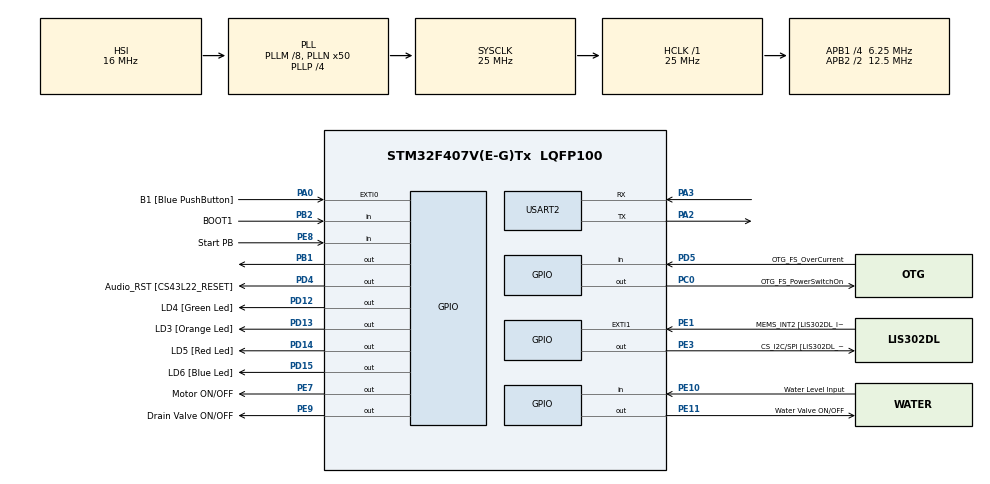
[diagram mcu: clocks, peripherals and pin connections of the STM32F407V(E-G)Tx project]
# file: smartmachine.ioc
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FREERTOS.Queues01=myQueue01,64,uint16_t,0,Dynamic,NULL,NULL
FREERTOS.Tasks01=defaultTask,14,128,StartDefaultTask,Default,NULL,Dynamic,NULL,NULL;washingTask,24,128,StartWashingTask,Default,NULL,Dynamic,NULL,NULL;userInputTask,24,128,StartUserInputTask,Default,NULL,Dynamic,NULL,NULL;rinsingTask,24,128,StartRinsingTask,Default,NULL,Dynamic,NULL,NULL;washdrainTask,24,128,StartWashDrainTask,Default,NULL,Dynamic,NULL,NULL;fillrinseTask,24,128,StartFillRinseTask,Default,NULL,Dynamic,NULL,NULL;fillwashTask,24,256,StartFillWashTask,Default,NULL,Dynamic,NULL,NULL;rinsedrainTask,24,128,StartRinseDrainTask,Default,NULL,Dynamic,NULL,NULL;heartbeatTask,24,128,StarteHearBeatTask,Default,NULL,Dynamic,NULL,NULL
Mcu.Family=STM32F4
Mcu.Name=STM32F407V(E-G)Tx
Mcu.Package=LQFP100
NVIC.PriorityGroup=NVIC_PRIORITYGROUP_4
NVIC.TIM2_IRQn=true\:15\:0\:false\:false\:true\:false\:false\:true\:true
NVIC.TimeBase=TIM2_IRQn
NVIC.TimeBaseIP=TIM2
PA0-WKUP.GPIO_Label=B1 [Blue PushButton]
PA0-WKUP.Signal=GPXTI0
PA10.GPIO_Label=OTG_FS_ID
PA10.GPIO_Mode=GPIO_MODE_AF_PP
PA10.GPIO_PuPd=GPIO_NOPULL
PA10.GPIO_Speed=GPIO_SPEED_FREQ_LOW
PA10.Signal=USB_OTG_FS_ID
PA11.GPIO_Label=OTG_FS_DM
PA11.GPIO_Mode=GPIO_MODE_AF_PP
PA11.GPIO_PuPd=GPIO_NOPULL
PA11.GPIO_Speed=GPIO_SPEED_FREQ_LOW
PA11.Signal=USB_OTG_FS_DM
PA12.GPIO_Label=OTG_FS_DP
PA12.GPIO_Mode=GPIO_MODE_AF_PP
PA12.GPIO_PuPd=GPIO_NOPULL
PA12.GPIO_Speed=GPIO_SPEED_FREQ_LOW
PA12.Signal=USB_OTG_FS_DP
PA13.GPIO_Label=SWDIO
PA13.Signal=SYS_JTMS-SWDIO
PA14.GPIO_Label=SWCLK
PA14.Signal=SYS_JTCK-SWCLK
PA2.Mode=Asynchronous
PA2.Signal=USART2_TX
PA3.Mode=Asynchronous
PA3.Signal=USART2_RX
PA4.GPIO_Label=I2S3_WS [CS43L22_LRCK]
PA4.GPIO_Mode=GPIO_MODE_AF_PP
PA4.GPIO_PuPd=GPIO_NOPULL
PA4.GPIO_Speed=GPIO_SPEED_FREQ_LOW
PA4.Signal=I2S3_WS
PA5.GPIO_Label=SPI1_SCK [LIS302DL_SCL/SPC]
PA5.GPIO_Mode=GPIO_MODE_AF_PP
PA5.GPIO_PuPd=GPIO_NOPULL
PA5.GPIO_Speed=GPIO_SPEED_FREQ_LOW
PA5.Signal=SPI1_SCK
PA6.GPIO_Label=SPI1_MISO [LIS302DL_SDO]
PA6.GPIO_Mode=GPIO_MODE_AF_PP
PA6.GPIO_PuPd=GPIO_NOPULL
PA6.GPIO_Speed=GPIO_SPEED_FREQ_LOW
PA6.Signal=SPI1_MISO
PA7.GPIO_Label=SPI1_MOSI [LIS302DL_SDA/SDI/SDO]
PA7.GPIO_Mode=GPIO_MODE_AF_PP
PA7.GPIO_PuPd=GPIO_NOPULL
PA7.GPIO_Speed=GPIO_SPEED_FREQ_LOW
PA7.Signal=SPI1_MOSI
PA9.GPIO_Label=VBUS_FS
PA9.GPIO_Mode=GPIO_MODE_INPUT
PA9.GPIO_PuPd=GPIO_NOPULL
PA9.Signal=USB_OTG_FS_VBUS
PB1.Signal=GPIO_Output
PB10.GPIO_Label=CLK_IN [MP45DT02_CLK]
PB10.GPIO_Mode=GPIO_MODE_AF_PP
PB10.GPIO_PuPd=GPIO_NOPULL
PB10.GPIO_Speed=GPIO_SPEED_FREQ_LOW
PB10.Signal=I2S2_CK
PB2.GPIO_Label=BOOT1
PB2.GPIO_Mode=GPIO_MODE_INPUT
PB2.GPIO_PuPd=GPIO_NOPULL
PB2.Signal=GPIO_Input
PB3.GPIO_Label=SWO
PB3.Signal=SYS_JTDO-SWO
PB6.GPIO_Label=Audio_SCL [CS43L22_SCL]
PB6.GPIO_Mode=GPIO_MODE_AF_OD
PB6.GPIO_PuPd=GPIO_NOPULL
PB6.GPIO_Speed=GPIO_SPEED_FREQ_LOW
PB6.Signal=I2C1_SCL
PB9.GPIO_Label=Audio_SDA [CS43L22_SDA]
PB9.GPIO_Mode=GPIO_MODE_AF_OD
PB9.GPIO_PuPd=GPIO_NOPULL
PB9.GPIO_Speed=GPIO_SPEED_FREQ_LOW
PB9.Signal=I2C1_SDA
PC0.GPIO_Label=OTG_FS_PowerSwitchOn
PC0.GPIO_PuPd=GPIO_NOPULL
PC0.GPIO_Speed=GPIO_SPEED_FREQ_LOW
PC0.PinState=GPIO_PIN_SET
PC0.Signal=GPIO_Output
PC10.GPIO_Label=I2S3_SCK [CS43L22_SCLK]
PC10.GPIO_Mode=GPIO_MODE_AF_PP
PC10.GPIO_PuPd=GPIO_NOPULL
PC10.GPIO_Speed=GPIO_SPEED_FREQ_LOW
PC10.Signal=I2S3_CK
PC12.GPIO_Label=I2S3_SD [CS43L22_SDIN]
PC12.GPIO_Mode=GPIO_MODE_AF_PP
PC12.GPIO_PuPd=GPIO_NOPULL
PC12.GPIO_Speed=GPIO_SPEED_FREQ_LOW
PC12.Signal=I2S3_SD
PC14-OSC32_IN.GPIO_Label=PC14-OSC32_IN
PC14-OSC32_IN.Signal=RCC_OSC32_IN
PC15-OSC32_OUT.GPIO_Label=PC15-OSC32_OUT
PC15-OSC32_OUT.Signal=RCC_OSC32_OUT
PC3.GPIO_Label=PDM_OUT [MP45DT02_DOUT]
PC3.GPIO_Mode=GPIO_MODE_AF_PP
PC3.GPIO_PuPd=GPIO_NOPULL
PC3.GPIO_Speed=GPIO_SPEED_FREQ_LOW
PC3.Signal=I2S2_SD
PC7.GPIO_Label=I2S3_MCK [CS43L22_MCLK]
PC7.GPIO_Mode=GPIO_MODE_AF_PP
PC7.GPIO_PuPd=GPIO_NOPULL
PC7.GPIO_Speed=GPIO_SPEED_FREQ_LOW
PC7.Signal=I2S3_MCK
PD12.GPIO_Label=LD4 [Green Led]
PD12.GPIO_PuPd=GPIO_NOPULL
PD12.GPIO_Speed=GPIO_SPEED_FREQ_LOW
PD12.Signal=GPIO_Output
PD13.GPIO_Label=LD3 [Orange Led]
PD13.GPIO_PuPd=GPIO_NOPULL
PD13.GPIO_Speed=GPIO_SPEED_FREQ_LOW
PD13.Signal=GPIO_Output
PD14.GPIO_Label=LD5 [Red Led]
PD14.GPIO_PuPd=GPIO_NOPULL
PD14.GPIO_Speed=GPIO_SPEED_FREQ_LOW
PD14.Signal=GPIO_Output
PD15.GPIO_Label=LD6 [Blue Led]
PD15.GPIO_PuPd=GPIO_NOPULL
PD15.GPIO_Speed=GPIO_SPEED_FREQ_LOW
PD15.Signal=GPIO_Output
PD4.GPIO_Label=Audio_RST [CS43L22_RESET]
PD4.GPIO_PuPd=GPIO_NOPULL
PD4.GPIO_Speed=GPIO_SPEED_FREQ_LOW
PD4.Signal=GPIO_Output
PD5.GPIO_Label=OTG_FS_OverCurrent
PD5.GPIO_Mode=GPIO_MODE_INPUT
PD5.GPIO_PuPd=GPIO_NOPULL
PD5.Signal=GPIO_Input
PE1.GPIO_Label=MEMS_INT2 [LIS302DL_INT2]
PE1.GPIO_ModeDefaultEXTI=GPIO_MODE_EVT_RISING
PE1.GPIO_PuPd=GPIO_NOPULL
PE1.Signal=GPXTI1
PE10.GPIO_Label=Water Level Input
PE10.GPIO_PuPd=GPIO_PULLUP
PE10.Signal=GPIO_Input
PE11.GPIO_Label=Water Valve ON/OFF
PE11.Signal=GPIO_Output
PE3.GPIO_Label=CS_I2C/SPI [LIS302DL_CS_I2C/SPI]
PE3.GPIO_PuPd=GPIO_NOPULL
PE3.GPIO_Speed=GPIO_SPEED_FREQ_LOW
PE3.Signal=GPIO_Output
PE7.GPIO_Label=Motor ON/OFF
PE7.Signal=GPIO_Output
PE8.GPIO_Label=Start PB
PE8.GPIO_PuPd=GPIO_PULLUP
PE8.Signal=GPIO_Input
PE9.GPIO_Label=Drain Valve ON/OFF
PE9.Signal=GPIO_Output
PH0-OSC_IN.GPIO_Label=PH0-OSC_IN
PH0-OSC_IN.Mode=HSE-External-Oscillator
PH0-OSC_IN.Signal=RCC_OSC_IN
PH1-OSC_OUT.GPIO_Label=PH1-OSC_OUT
PH1-OSC_OUT.Mode=HSE-External-Oscillator
PH1-OSC_OUT.Signal=RCC_OSC_OUT
ProjectManager.HeapSize=0x200
ProjectManager.StackSize=0x400
ProjectManager.TargetToolchain=STM32CubeIDE
RCC.48MHZClocksFreq_Value=14285714.285714285
RCC.AHBFreq_Value=25000000
RCC.APB1CLKDivider=RCC_HCLK_DIV4
RCC.APB1Freq_Value=6250000
RCC.APB1TimFreq_Value=12500000
RCC.APB2CLKDivider=RCC_HCLK_DIV2
RCC.APB2Freq_Value=12500000
RCC.APB2TimFreq_Value=25000000
RCC.CortexFreq_Value=25000000
RCC.HCLKFreq_Value=25000000
RCC.HSE_VALUE=8000000
RCC.HSI_VALUE=16000000
RCC.LSE_VALUE=32768
RCC.PLLM=8
RCC.PLLN=50
RCC.PLLP=RCC_PLLP_DIV4
RCC.PLLQ=7
RCC.SYSCLKFreq_VALUE=25000000
RCC.SYSCLKSource=RCC_SYSCLKSOURCE_PLLCLK
RCC.VCOOutputFreq_Value=100000000
USART2.VirtualMode=VM_ASYNC
VP_FREERTOS_VS_CMSIS_V2.Mode=CMSIS_V2
VP_SYS_VS_tim2.Mode=TIM2
board=STM32F407G-DISC1

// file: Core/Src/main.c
/* USER CODE BEGIN Header */
/**
 ******************************************************************************
 * @file           : main.c
 * @brief          : Main program body
 ******************************************************************************
 * @attention
 *
 * Copyright (c) 2024 STMicroelectronics.
 * All rights reserved.
 *
 * This software is licensed under terms that can be found in the LICENSE file
 * in the root directory of this software component.
 * If no LICENSE file comes with this software, it is provided AS-IS.
 *
 ******************************************************************************
 */
/* USER CODE END Header */
#include "main.h"
#include "cmsis_os.h"

/* USER CODE BEGIN Includes */
#include <string.h>
#include <stdio.h>
#include <unistd.h>
/* USER CODE END Includes */

/* USER CODE BEGIN PTD */
typedef enum {
	EVENT_START_BUTTON_PRESSED,
	EVENT_WATER_LEVEL_REACHED_WASH,
	EVENT_WASH_TIMER_EXPIRED,
	EVENT_DRAIN_COMPLETE,
	EVENT_RINSE_TIMER_EXPIRED,
	EVENT_SPIN_TIMER_EXPIRED,
	EVENT_ERROR_DETECTED,
	EVENT_ERROR_RESOLVED,
	EVENT_FILLING_WATER_COMPLETE,
	EVENT_WATER_LEVEL_REACHED_RINSE,
	EVENT_RINSE_DRAIN_COMPLETE,
	EVENT_WASH_DRAIN_COMPLETE
} washing_machine_event_t;
/* USER CODE END PTD */

UART_HandleTypeDef huart2;

/* Definitions for defaultTask */
osThreadId_t defaultTaskHandle;
const osThreadAttr_t defaultTask_attributes = {
  .name = "defaultTask",
  .stack_size = 128 * 4,
  .priority = (osPriority_t) osPriorityLow6,
};
/* Definitions for washingTask */
osThreadId_t washingTaskHandle;
const osThreadAttr_t washingTask_attributes = {
  .name = "washingTask",
  .stack_size = 128 * 4,
  .priority = (osPriority_t) osPriorityNormal,
};
/* Definitions for userInputTask */
osThreadId_t userInputTaskHandle;
const osThreadAttr_t userInputTask_attributes = {
  .name = "userInputTask",
  .stack_size = 128 * 4,
  .priority = (osPriority_t) osPriorityNormal,
};
/* Definitions for rinsingTask */
osThreadId_t rinsingTaskHandle;
const osThreadAttr_t rinsingTask_attributes = {
  .name = "rinsingTask",
  .stack_size = 128 * 4,
  .priority = (osPriority_t) osPriorityNormal,
};
/* Definitions for washdrainTask */
osThreadId_t washdrainTaskHandle;
const osThreadAttr_t washdrainTask_attributes = {
  .name = "washdrainTask",
  .stack_size = 128 * 4,
  .priority = (osPriority_t) osPriorityNormal,
};
/* Definitions for fillrinseTask */
osThreadId_t fillrinseTaskHandle;
const osThreadAttr_t fillrinseTask_attributes = {
  .name = "fillrinseTask",
  .stack_size = 128 * 4,
  .priority = (osPriority_t) osPriorityNormal,
};
/* Definitions for fillwashTask */
osThreadId_t fillwashTaskHandle;
const osThreadAttr_t fillwashTask_attributes = {
  .name = "fillwashTask",
  .stack_size = 256 * 4,
  .priority = (osPriority_t) osPriorityNormal,
};
/* Definitions for rinsedrainTask */
osThreadId_t rinsedrainTaskHandle;
const osThreadAttr_t rinsedrainTask_attributes = {
  .name = "rinsedrainTask",
  .stack_size = 128 * 4,
  .priority = (osPriority_t) osPriorityNormal,
};
/* Definitions for heartbeatTask */
osThreadId_t heartbeatTaskHandle;
const osThreadAttr_t heartbeatTask_attributes = {
  .name = "heartbeatTask",
  .stack_size = 128 * 4,
  .priority = (osPriority_t) osPriorityNormal,
};
/* Definitions for myQueue01 */
osMessageQueueId_t myQueue01Handle;
const osMessageQueueAttr_t myQueue01_attributes = {
  .name = "myQueue01"
};

void SystemClock_Config(void);
static void MX_GPIO_Init(void);
static void MX_USART2_UART_Init(void);
void StartDefaultTask(void *argument);
void StartWashingTask(void *argument);
void StartUserInputTask(void *argument);
void StartRinsingTask(void *argument);
void StartWashDrainTask(void *argument);
void StartFillRinseTask(void *argument);
void StartFillWashTask(void *argument);
void StartRinseDrainTask(void *argument);
void StarteHearBeatTask(void *argument);

/* USER CODE BEGIN 0 */

//-------------------ITM redirect for printf----------------------------------//

int _write(int le, char *ptr, int len) {
    int DataIdx;

    for (DataIdx = 0; DataIdx < len; DataIdx++) {
        ITM_SendChar(*ptr++);
    }
    return len;
}

//-------------------ITM redirect for printf---------------------------------//

/* USER CODE END 0 */

int main(void)
{

  /* MCU Configuration--------------------------------------------------------*/

  /* Reset of all peripherals, Initializes the Flash interface and the Systick. */
  HAL_Init();

  /* Configure the system clock */
  SystemClock_Config();

  /* Initialize all configured peripherals */
  MX_GPIO_Init();
  MX_USART2_UART_Init();
  /* USER CODE BEGIN 2 */
  printf("I(100):USART2 Initialized = OK\r\n");
  printf("I(101):Scheduler Will take over from Now on\r\n");
  /* USER CODE END 2 */

  /* Init scheduler */
  osKernelInitialize();

  /* Create the queue(s) */
  /* creation of myQueue01 */
  myQueue01Handle = osMessageQueueNew (64, sizeof(uint16_t), &myQueue01_attributes);

  /* USER CODE BEGIN RTOS_QUEUES */
  if (myQueue01Handle == NULL) {
    printf("Failed to create message queue.\n");
  } else {
    printf("Message queue created successfully.\n");
  }
	/* add queues, ... */
  /* USER CODE END RTOS_QUEUES */

  /* Create the thread(s) */
  /* creation of defaultTask */
  //defaultTaskHandle = osThreadNew(StartDefaultTask, NULL, &defaultTask_attributes);

  /* creation of washingTask */
  washingTaskHandle = osThreadNew(StartWashingTask, NULL, &washingTask_attributes);

  /* creation of userInputTask */
  userInputTaskHandle = osThreadNew(StartUserInputTask, NULL, &userInputTask_attributes);

  /* creation of rinsingTask */
  //rinsingTaskHandle = osThreadNew(StartRinsingTask, NULL, &rinsingTask_attributes);

  /* creation of washdrainTask */
  washdrainTaskHandle = osThreadNew(StartWashDrainTask, NULL, &washdrainTask_attributes);

  /* creation of fillrinseTask */
  //fillrinseTaskHandle = osThreadNew(StartFillRinseTask, NULL, &fillrinseTask_attributes);

  /* creation of fillwashTask */
  fillwashTaskHandle = osThreadNew(StartFillWashTask, NULL, &fillwashTask_attributes);

  /* creation of rinsedrainTask */
  //rinsedrainTaskHandle = osThreadNew(StartRinseDrainTask, NULL, &rinsedrainTask_attributes);

  /* creation of heartbeatTask */
  heartbeatTaskHandle = osThreadNew(StarteHearBeatTask, NULL, &heartbeatTask_attributes);

  /* Start scheduler */
  osKernelStart();

  /* We should never get here as control is now taken by the scheduler */

  /* Infinite loop */
	while (1) {

	}
}

void SystemClock_Config(void)
{
  RCC_OscInitTypeDef RCC_OscInitStruct = {0};
  RCC_ClkInitTypeDef RCC_ClkInitStruct = {0};

  /** Configure the main internal regulator output voltage
  */
  __HAL_RCC_PWR_CLK_ENABLE();
  __HAL_PWR_VOLTAGESCALING_CONFIG(PWR_REGULATOR_VOLTAGE_SCALE1);

  /** Initializes the RCC Oscillators according to the specified parameters
  * in the RCC_OscInitTypeDef structure.
  */
  RCC_OscInitStruct.OscillatorType = RCC_OSCILLATORTYPE_HSI;
  RCC_OscInitStruct.HSIState = RCC_HSI_ON;
  RCC_OscInitStruct.HSICalibrationValue = RCC_HSICALIBRATION_DEFAULT;
  RCC_OscInitStruct.PLL.PLLState = RCC_PLL_ON;
  RCC_OscInitStruct.PLL.PLLSource = RCC_PLLSOURCE_HSI;
  RCC_OscInitStruct.PLL.PLLM = 8;
  RCC_OscInitStruct.PLL.PLLN = 50;
  RCC_OscInitStruct.PLL.PLLP = RCC_PLLP_DIV4;
  RCC_OscInitStruct.PLL.PLLQ = 7;
  if (HAL_RCC_OscConfig(&RCC_OscInitStruct) != HAL_OK)
  {
    Error_Handler();
  }

  /** Initializes the CPU, AHB and APB buses clocks
  */
  RCC_ClkInitStruct.ClockType = RCC_CLOCKTYPE_HCLK|RCC_CLOCKTYPE_SYSCLK
                              |RCC_CLOCKTYPE_PCLK1|RCC_CLOCKTYPE_PCLK2;
  RCC_ClkInitStruct.SYSCLKSource = RCC_SYSCLKSOURCE_PLLCLK;
  RCC_ClkInitStruct.AHBCLKDivider = RCC_SYSCLK_DIV1;
  RCC_ClkInitStruct.APB1CLKDivider = RCC_HCLK_DIV4;
  RCC_ClkInitStruct.APB2CLKDivider = RCC_HCLK_DIV2;

  if (HAL_RCC_ClockConfig(&RCC_ClkInitStruct, FLASH_LATENCY_0) != HAL_OK)
  {
    Error_Handler();
  }
}

static void MX_USART2_UART_Init(void)
{

  huart2.Instance = USART2;
  huart2.Init.BaudRate = 115200;
  huart2.Init.WordLength = UART_WORDLENGTH_8B;
  huart2.Init.StopBits = UART_STOPBITS_1;
  huart2.Init.Parity = UART_PARITY_NONE;
  huart2.Init.Mode = UART_MODE_TX_RX;
  huart2.Init.HwFlowCtl = UART_HWCONTROL_NONE;
  huart2.Init.OverSampling = UART_OVERSAMPLING_16;
  if (HAL_UART_Init(&huart2) != HAL_OK)
  {
    Error_Handler();
  }
  /* USER CODE BEGIN USART2_Init 2 */
	// Override _write function to redirect printf to UART
  /* USER CODE END USART2_Init 2 */

}

static void MX_GPIO_Init(void)
{
  GPIO_InitTypeDef GPIO_InitStruct = {0};

  /* GPIO Ports Clock Enable */
  __HAL_RCC_GPIOE_CLK_ENABLE();
  __HAL_RCC_GPIOC_CLK_ENABLE();
  __HAL_RCC_GPIOH_CLK_ENABLE();
  __HAL_RCC_GPIOA_CLK_ENABLE();
  __HAL_RCC_GPIOB_CLK_ENABLE();
  __HAL_RCC_GPIOD_CLK_ENABLE();

  /*Configure GPIO pin Output Level */
  HAL_GPIO_WritePin(GPIOE, CS_I2C_SPI_Pin|Motor_ON_OFF_Pin|Drain_Valve_ON_OFF_Pin|Water_Valve_ON_OFF_Pin, GPIO_PIN_RESET);

  /*Configure GPIO pin Output Level */
  HAL_GPIO_WritePin(OTG_FS_PowerSwitchOn_GPIO_Port, OTG_FS_PowerSwitchOn_Pin, GPIO_PIN_SET);

  /*Configure GPIO pin Output Level */
  HAL_GPIO_WritePin(GPIOB, GPIO_PIN_1, GPIO_PIN_RESET);

  /*Configure GPIO pin Output Level */
  HAL_GPIO_WritePin(GPIOD, LD4_Pin|LD3_Pin|LD5_Pin|LD6_Pin
                          |Audio_RST_Pin, GPIO_PIN_RESET);

  /*Configure GPIO pins : CS_I2C_SPI_Pin Motor_ON_OFF_Pin Drain_Valve_ON_OFF_Pin Water_Valve_ON_OFF_Pin */
  GPIO_InitStruct.Pin = CS_I2C_SPI_Pin|Motor_ON_OFF_Pin|Drain_Valve_ON_OFF_Pin|Water_Valve_ON_OFF_Pin;
  GPIO_InitStruct.Mode = GPIO_MODE_OUTPUT_PP;
  GPIO_InitStruct.Pull = GPIO_NOPULL;
  GPIO_InitStruct.Speed = GPIO_SPEED_FREQ_LOW;
  HAL_GPIO_Init(GPIOE, &GPIO_InitStruct);

  /*Configure GPIO pin : OTG_FS_PowerSwitchOn_Pin */
  GPIO_InitStruct.Pin = OTG_FS_PowerSwitchOn_Pin;
  GPIO_InitStruct.Mode = GPIO_MODE_OUTPUT_PP;
  GPIO_InitStruct.Pull = GPIO_NOPULL;
  GPIO_InitStruct.Speed = GPIO_SPEED_FREQ_LOW;
  HAL_GPIO_Init(OTG_FS_PowerSwitchOn_GPIO_Port, &GPIO_InitStruct);

  /*Configure GPIO pin : PDM_OUT_Pin */
  GPIO_InitStruct.Pin = PDM_OUT_Pin;
  GPIO_InitStruct.Mode = GPIO_MODE_AF_PP;
  GPIO_InitStruct.Pull = GPIO_NOPULL;
  GPIO_InitStruct.Speed = GPIO_SPEED_FREQ_LOW;
  GPIO_InitStruct.Alternate = GPIO_AF5_SPI2;
  HAL_GPIO_Init(PDM_OUT_GPIO_Port, &GPIO_InitStruct);

  /*Configure GPIO pin : B1_Pin */
  GPIO_InitStruct.Pin = B1_Pin;
  GPIO_InitStruct.Mode = GPIO_MODE_IT_RISING;
  GPIO_InitStruct.Pull = GPIO_NOPULL;
  HAL_GPIO_Init(B1_GPIO_Port, &GPIO_InitStruct);

  /*Configure GPIO pin : I2S3_WS_Pin */
  GPIO_InitStruct.Pin = I2S3_WS_Pin;
  GPIO_InitStruct.Mode = GPIO_MODE_AF_PP;
  GPIO_InitStruct.Pull = GPIO_NOPULL;
  GPIO_InitStruct.Speed = GPIO_SPEED_FREQ_LOW;
  GPIO_InitStruct.Alternate = GPIO_AF6_SPI3;
  HAL_GPIO_Init(I2S3_WS_GPIO_Port, &GPIO_InitStruct);

  /*Configure GPIO pins : SPI1_SCK_Pin SPI1_MISO_Pin SPI1_MOSI_Pin */
  GPIO_InitStruct.Pin = SPI1_SCK_Pin|SPI1_MISO_Pin|SPI1_MOSI_Pin;
  GPIO_InitStruct.Mode = GPIO_MODE_AF_PP;
  GPIO_InitStruct.Pull = GPIO_NOPULL;
  GPIO_InitStruct.Speed = GPIO_SPEED_FREQ_LOW;
  GPIO_InitStruct.Alternate = GPIO_AF5_SPI1;
  HAL_GPIO_Init(GPIOA, &GPIO_InitStruct);

  /*Configure GPIO pin : PB1 */
  GPIO_InitStruct.Pin = GPIO_PIN_1;
  GPIO_InitStruct.Mode = GPIO_MODE_OUTPUT_PP;
  GPIO_InitStruct.Pull = GPIO_NOPULL;
  GPIO_InitStruct.Speed = GPIO_SPEED_FREQ_LOW;
  HAL_GPIO_Init(GPIOB, &GPIO_InitStruct);

  /*Configure GPIO pin : BOOT1_Pin */
  GPIO_InitStruct.Pin = BOOT1_Pin;
  GPIO_InitStruct.Mode = GPIO_MODE_INPUT;
  GPIO_InitStruct.Pull = GPIO_NOPULL;
  HAL_GPIO_Init(BOOT1_GPIO_Port, &GPIO_InitStruct);

  /*Configure GPIO pins : Start_PB_Pin Water_Level_Input_Pin */
  GPIO_InitStruct.Pin = Start_PB_Pin|Water_Level_Input_Pin;
  GPIO_InitStruct.Mode = GPIO_MODE_INPUT;
  GPIO_InitStruct.Pull = GPIO_PULLUP;
  HAL_GPIO_Init(GPIOE, &GPIO_InitStruct);

  /*Configure GPIO pin : CLK_IN_Pin */
  GPIO_InitStruct.Pin = CLK_IN_Pin;
  GPIO_InitStruct.Mode = GPIO_MODE_AF_PP;
  GPIO_InitStruct.Pull = GPIO_NOPULL;
  GPIO_InitStruct.Speed = GPIO_SPEED_FREQ_LOW;
  GPIO_InitStruct.Alternate = GPIO_AF5_SPI2;
  HAL_GPIO_Init(CLK_IN_GPIO_Port, &GPIO_InitStruct);

  /*Configure GPIO pins : LD4_Pin LD3_Pin LD5_Pin LD6_Pin
                           Audio_RST_Pin */
  GPIO_InitStruct.Pin = LD4_Pin|LD3_Pin|LD5_Pin|LD6_Pin
                          |Audio_RST_Pin;
  GPIO_InitStruct.Mode = GPIO_MODE_OUTPUT_PP;
  GPIO_InitStruct.Pull = GPIO_NOPULL;
  GPIO_InitStruct.Speed = GPIO_SPEED_FREQ_LOW;
  HAL_GPIO_Init(GPIOD, &GPIO_InitStruct);

  /*Configure GPIO pins : I2S3_MCK_Pin I2S3_SCK_Pin I2S3_SD_Pin */
  GPIO_InitStruct.Pin = I2S3_MCK_Pin|I2S3_SCK_Pin|I2S3_SD_Pin;
  GPIO_InitStruct.Mode = GPIO_MODE_AF_PP;
  GPIO_InitStruct.Pull = GPIO_NOPULL;
  GPIO_InitStruct.Speed = GPIO_SPEED_FREQ_LOW;
  GPIO_InitStruct.Alternate = GPIO_AF6_SPI3;
  HAL_GPIO_Init(GPIOC, &GPIO_InitStruct);

  /*Configure GPIO pin : VBUS_FS_Pin */
  GPIO_InitStruct.Pin = VBUS_FS_Pin;
  GPIO_InitStruct.Mode = GPIO_MODE_INPUT;
  GPIO_InitStruct.Pull = GPIO_NOPULL;
  HAL_GPIO_Init(VBUS_FS_GPIO_Port, &GPIO_InitStruct);

  /*Configure GPIO pins : OTG_FS_ID_Pin OTG_FS_DM_Pin OTG_FS_DP_Pin */
  GPIO_InitStruct.Pin = OTG_FS_ID_Pin|OTG_FS_DM_Pin|OTG_FS_DP_Pin;
  GPIO_InitStruct.Mode = GPIO_MODE_AF_PP;
  GPIO_InitStruct.Pull = GPIO_NOPULL;
  GPIO_InitStruct.Speed = GPIO_SPEED_FREQ_LOW;
  GPIO_InitStruct.Alternate = GPIO_AF10_OTG_FS;
  HAL_GPIO_Init(GPIOA, &GPIO_InitStruct);

  /*Configure GPIO pin : OTG_FS_OverCurrent_Pin */
  GPIO_InitStruct.Pin = OTG_FS_OverCurrent_Pin;
  GPIO_InitStruct.Mode = GPIO_MODE_INPUT;
  GPIO_InitStruct.Pull = GPIO_NOPULL;
  HAL_GPIO_Init(OTG_FS_OverCurrent_GPIO_Port, &GPIO_InitStruct);

  /*Configure GPIO pins : Audio_SCL_Pin Audio_SDA_Pin */
  GPIO_InitStruct.Pin = Audio_SCL_Pin|Audio_SDA_Pin;
  GPIO_InitStruct.Mode = GPIO_MODE_AF_OD;
  GPIO_InitStruct.Pull = GPIO_NOPULL;
  GPIO_InitStruct.Speed = GPIO_SPEED_FREQ_LOW;
  GPIO_InitStruct.Alternate = GPIO_AF4_I2C1;
  HAL_GPIO_Init(GPIOB, &GPIO_InitStruct);

  /*Configure GPIO pin : MEMS_INT2_Pin */
  GPIO_InitStruct.Pin = MEMS_INT2_Pin;
  GPIO_InitStruct.Mode = GPIO_MODE_EVT_RISING;
  GPIO_InitStruct.Pull = GPIO_NOPULL;
  HAL_GPIO_Init(MEMS_INT2_GPIO_Port, &GPIO_InitStruct);

}

void StartDefaultTask(void *argument)
{
	for (;;) {
		osDelay(1);
	}
}

void StartWashingTask(void *argument)
{
  /* USER CODE BEGIN StartWashingTask */
/* Infinite loop */
		for (;;) {
			washing_machine_event_t event;
			osStatus_t status = osMessageQueueGet(myQueue01Handle, &event, NULL, osWaitForever);
			if (status == osOK) {

				if (event == EVENT_WATER_LEVEL_REACHED_WASH) {
					// Perform washing operation
					HAL_GPIO_WritePin(GPIOE, GPIO_PIN_7, GPIO_PIN_SET); // Turn on washing motor
					osDelay(5000); // Simulate washing time
					HAL_GPIO_WritePin(GPIOE, GPIO_PIN_7, GPIO_PIN_RESET); // Turn off washing motor
					// Send event to transition to draining
					washing_machine_event_t nextEvent = EVENT_WASH_TIMER_EXPIRED;
					osMessageQueuePut(myQueue01Handle, &nextEvent, 0, 0);
				}
			osDelay(1);
		}
		}
  /* USER CODE END StartWashingTask */
}

void StartUserInputTask(void *argument)
{
  /* USER CODE BEGIN StartUserInputTask */
	printf("StartUserInputTask is running.\n");
	  for (;;) {
	    if (HAL_GPIO_ReadPin(GPIOE, GPIO_PIN_8) == GPIO_PIN_RESET) {
	      osDelay(50);
	      if (HAL_GPIO_ReadPin(GPIOE, GPIO_PIN_8) == GPIO_PIN_RESET) {
	        washing_machine_event_t event = EVENT_START_BUTTON_PRESSED;
	        osStatus_t status = osMessageQueuePut(myQueue01Handle, &event, 0, 0);
	        if (status == osOK) {
	          printf("Event EVENT_START_BUTTON_PRESSED sent successfully.\n");
	        } else {
	          printf("Failed to send EVENT_START_BUTTON_PRESSED event. Status: %d\n", status);
	        }
	      }
	    }
	    osDelay(1);
	  }
  /* USER CODE END StartUserInputTask */
}

void StartRinsingTask(void *argument)
{
  /* USER CODE BEGIN StartRinsingTask */
	/* Infinite loop */
	for (;;) {
		washing_machine_event_t event;
		if (osMessageQueueGet(myQueue01Handle, &event, NULL, osWaitForever) == osOK) {

			if (event == EVENT_WATER_LEVEL_REACHED_RINSE) {
				// Perform rinsing operation
				printf("Rinse Timer Started...\r\n");
				HAL_GPIO_WritePin(GPIOE, GPIO_PIN_7, GPIO_PIN_SET); // Example: Turn on motor
				osDelay(5000); // Simulate rinsing time
				HAL_GPIO_WritePin(GPIOE, GPIO_PIN_7, GPIO_PIN_RESET); // Example: Turn off motor
				printf("Rinse Timer Expired...\r\n");
				// Send event to transition to next state
				washing_machine_event_t nextEvent = EVENT_RINSE_TIMER_EXPIRED;
				osMessageQueuePut(myQueue01Handle, &nextEvent, 0, 0);
			}
		}
		osDelay(1);
	}
  /* USER CODE END StartRinsingTask */
}

void StartWashDrainTask(void *argument)
{
  /* USER CODE BEGIN StartWashDrainTask */
	/* Infinite loop */
	for (;;) {
		washing_machine_event_t event;
		if (osMessageQueueGet(myQueue01Handle, &event, NULL, osWaitForever) == osOK) {
			if (event == EVENT_WASH_TIMER_EXPIRED) {
				printf("Performing drain operation after wash...\r\n");
				HAL_GPIO_WritePin(GPIOE, GPIO_PIN_9, GPIO_PIN_SET); // Open the Drain Valve
				while (HAL_GPIO_ReadPin(GPIOE, GPIO_PIN_10) != GPIO_PIN_RESET) {
					osDelay(1); // Wait until water level is reached
				}
				HAL_GPIO_WritePin(GPIOE, GPIO_PIN_9, GPIO_PIN_RESET); // Turn off water valve
				printf("Drain operation after wash Completed...\r\n");
				washing_machine_event_t nextEvent = EVENT_WASH_DRAIN_COMPLETE;
				osMessageQueuePut(myQueue01Handle, &nextEvent, 0, 0);
			}

		}
		osDelay(1);
	}
  /* USER CODE END StartWashDrainTask */
}

void StartFillRinseTask(void *argument)
{
  /* USER CODE BEGIN StartFillRinseTask */
		/* Infinite loop */
		for (;;) {
			washing_machine_event_t event;
			if (osMessageQueueGet(myQueue01Handle, &event, NULL, osWaitForever) == osOK) {
				if (event == EVENT_WASH_DRAIN_COMPLETE) {
					// Perform Rinse fill operation
					printf("Perform Rinse fill operation...\r\n");
					HAL_GPIO_WritePin(GPIOE, GPIO_PIN_11, GPIO_PIN_SET); // Turn on water valve

					while (HAL_GPIO_ReadPin(GPIOE, GPIO_PIN_10)
							!= GPIO_PIN_RESET) {
						osDelay(100); // Wait until water level is reached
					}
					HAL_GPIO_WritePin(GPIOE, GPIO_PIN_11, GPIO_PIN_RESET); // Turn off water valve
					printf("Rinse fill operation Completed...\r\n");
					washing_machine_event_t nextEvent = EVENT_WATER_LEVEL_REACHED_RINSE;
					osMessageQueuePut(myQueue01Handle, &nextEvent, 0, 0);

				}
				osDelay(1);
			}
		}
  /* USER CODE END StartFillRinseTask */
}

void StartFillWashTask(void *argument)
{
  /* USER CODE BEGIN StartFillWashTask */
	  printf("StartFillWashTask is running.\n");
	  for (;;) {
	    washing_machine_event_t event;
	    osStatus_t status = osMessageQueueGet(myQueue01Handle, &event, NULL, osWaitForever);
	    if (status == osOK) {
	      printf("Received event: %d\n", event);
	      if (event == EVENT_START_BUTTON_PRESSED) {
	        printf("Start button pressed. Starting to fill water...\n");

	        // Perform filling water operation
	        HAL_GPIO_WritePin(GPIOE, GPIO_PIN_11, GPIO_PIN_SET); // Turn on water valve

	        while (HAL_GPIO_ReadPin(GPIOE, GPIO_PIN_10) != GPIO_PIN_RESET) {
	          osDelay(1); // Wait until water level is reached
	        }

	        HAL_GPIO_WritePin(GPIOE, GPIO_PIN_11, GPIO_PIN_RESET); // Turn off water valve
	        washing_machine_event_t nextEvent = EVENT_WATER_LEVEL_REACHED_WASH;
	        osMessageQueuePut(myQueue01Handle, &nextEvent, 0, 0);
	      }
	    } else {
	      printf("Failed to get event from queue. Status: %d\n", status);
	    }
	    osDelay(1);
	  }

  /* USER CODE END StartFillWashTask */
}

void StartRinseDrainTask(void *argument)
{
  /* USER CODE BEGIN StartRinseDrainTask */
			/* Infinite loop */
			for (;;) {
				washing_machine_event_t event;
				if (osMessageQueueGet(myQueue01Handle, &event, NULL,
				osWaitForever) == osOK) {

					if (event == EVENT_RINSE_TIMER_EXPIRED) {
						// Perform rinsing operation
						HAL_GPIO_WritePin(GPIOE, GPIO_PIN_9, GPIO_PIN_SET); // Open Drain Valve
						osDelay(5000); // Simulate rinsing time
						HAL_GPIO_WritePin(GPIOE, GPIO_PIN_9, GPIO_PIN_RESET); // Close Drain Valve
						// Send event to transition to next state
						washing_machine_event_t nextEvent =
								EVENT_RINSE_DRAIN_COMPLETE;
						osMessageQueuePut(myQueue01Handle, &nextEvent, 0, 0);
					}
					osDelay(1);
				}
			}
  /* USER CODE END StartRinseDrainTask */
}

void StarteHearBeatTask(void *argument)
{
  /* USER CODE BEGIN StarteHearBeatTask */
  /* Infinite loop */
  for(;;)
  {
	  HAL_GPIO_WritePin(GPIOB, GPIO_PIN_1, GPIO_PIN_SET); // Open Drain Valve
	  osDelay(100); // On Delay
	  HAL_GPIO_WritePin(GPIOB, GPIO_PIN_1, GPIO_PIN_RESET); // Close Drain Valve
	  osDelay(100); // Off Delay

  }
  /* USER CODE END StarteHearBeatTask */
}

void HAL_TIM_PeriodElapsedCallback(TIM_HandleTypeDef *htim)
{
  if (htim->Instance == TIM2) {
    HAL_IncTick();
  }
}

void Error_Handler(void)
{
				__disable_irq();
				while (1) {
				}
}
